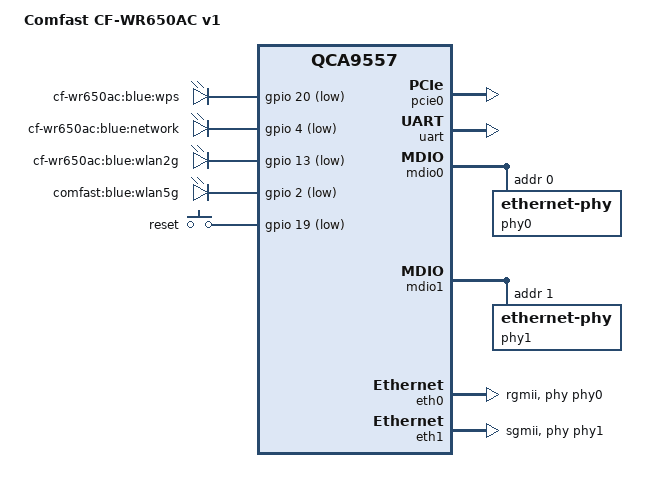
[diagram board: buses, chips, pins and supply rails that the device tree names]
// SPDX-License-Identifier: GPL-2.0-or-later OR MIT
/dts-v1/;

#include <dt-bindings/gpio/gpio.h>
#include <dt-bindings/input/input.h>

#include "qca9557.dtsi"

/ {
	compatible = "comfast,cf-wr650ac-v1", "qca,qca9557";
	model = "Comfast CF-WR650AC v1";

	chosen {
                bootargs = "console=ttyS0,115200n8";
        };

	leds {
		compatible = "gpio-leds";

		wps {
			label = "cf-wr650ac:blue:wps";
			gpios = <&gpio 20 GPIO_ACTIVE_LOW>;
		};

		network {
			label = "cf-wr650ac:blue:network";
			gpios = <&gpio 4 GPIO_ACTIVE_LOW>;
		};

		wlan2g {
			label = "cf-wr650ac:blue:wlan2g";
			gpios = <&gpio 13 GPIO_ACTIVE_LOW>;
			linux,default-trigger = "phy1tpt";
		};

		wlan5g {
			label = "comfast:blue:wlan5g";
			gpios = <&gpio 2 GPIO_ACTIVE_LOW>;
			linux,default-trigger = "phy0tpt";
		};
	};

	keys {
		compatible = "gpio-keys-polled";
		poll-interval = <100>;

		button0 {
			label = "reset";
			linux,code = <KEY_RESTART>;
			gpios = <&gpio 19 GPIO_ACTIVE_LOW>;
			debounce-interval = <60>;
		};
	};

};

&pcie0 {
	status = "okay";
};

&uart {
	status = "okay";
};

&mdio0 {
	status = "okay";

	phy0: ethernet-phy@0 {
		reg = <0>;
		phy-mode = "rgmii-id";
	};
};

&mdio1 {
	status = "okay";

	phy1: ethernet-phy@1 {
		reg = <1>;
		phy-mode = "sgmii";
	};
};

&eth0 {
	status = "okay";

	pll-data = <0xa6000000 0xB0000101 0xB0001313>;

	phy-handle = <&phy0>;
	phy-mode = "rgmii";
};

&eth1 {
	status = "okay";

	pll-data = <0x03000101 0xB0000101 0xB0001313>;

	phy-handle = <&phy1>;
	phy-mode = "sgmii";
};
